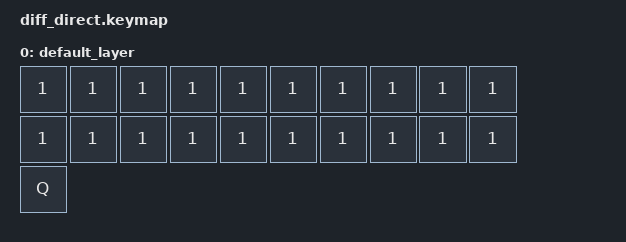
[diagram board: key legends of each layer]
/*
 * Copyright (c) 2021 The ZMK Contributors
 *
 * SPDX-License-Identifier: MIT
 */

#include <behaviors.dtsi>
#include <dt-bindings/zmk/keys.h>
#include <dt-bindings/zmk/bt.h>
#include <dt-bindings/zmk/outputs.h>

/ {
    keymap {
        compatible = "zmk,keymap";

        default_layer {
            bindings = <
              &kp N1 &kp N1 &kp N1 &kp N1 &kp N1 &kp N1 &kp N1 &kp N1 &kp N1 &kp N1
              &kp N1 &kp N1 &kp N1 &kp N1 &kp N1 &kp N1 &kp N1 &kp N1 &kp N1 &kp N1
              &kp Q >;
        };
    };
};
